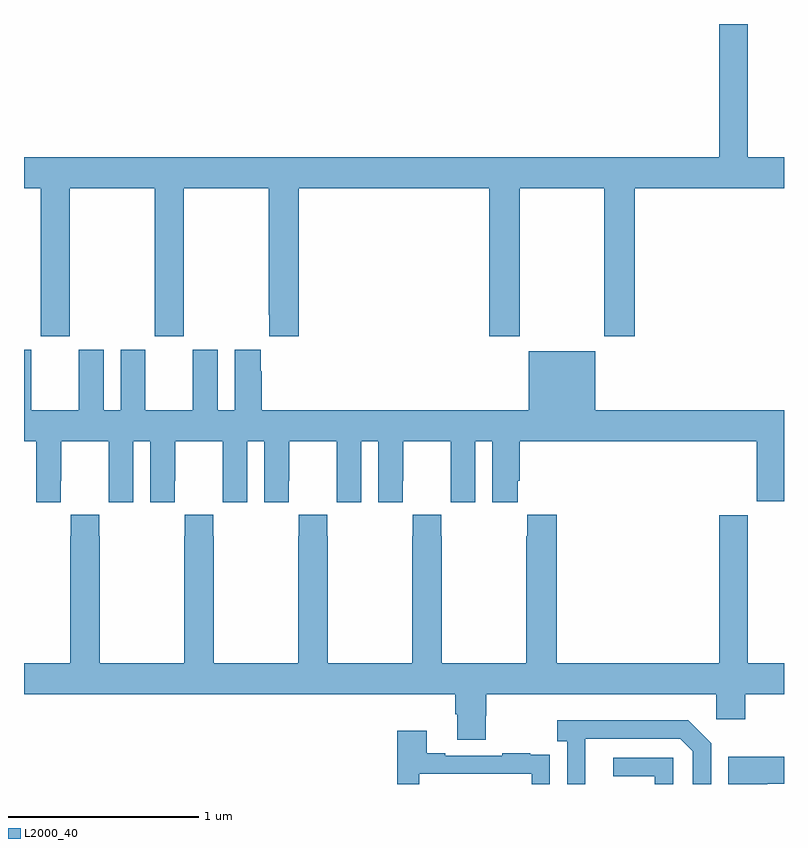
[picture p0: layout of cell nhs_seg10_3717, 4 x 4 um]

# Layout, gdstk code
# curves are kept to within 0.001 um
import gdstk
lib = gdstk.Library(unit=1e-6, precision=1e-09)
def P(c, l, *ps):  # polygons
    for p in ps: c.add(gdstk.Polygon(p, *l))
L2000_40 = (2000, 40)

nhs_seg10_3717 = lib.new_cell('nhs_seg10_3717')
P(nhs_seg10_3717, L2000_40, [(313.242,1313.636),(313.687,1313.636),(313.687,1312.857),(313.842,1312.857),(313.842,1313.636),(314.287,1313.636),(314.287,1312.969),(314.291,1312.969),(314.291,1312.857),(314.447,1312.857),(314.447,1313.636),(315.449,1313.636),(315.449,1312.857),(315.609,1312.857),(315.609,1313.636),(316.054,1313.636),(316.054,1312.857),(316.214,1312.857),(316.214,1313.636),(317,1313.636),(317,1313.8),(316.81,1313.8),(316.81,1314.5),(316.658,1314.5),(316.658,1313.8),(313,1313.8),(313,1313.636),(313.087,1313.636),(313.087,1312.857),(313.242,1312.857)],
  [(313.039,1312.786),(313,1312.786),(313,1312.304),(313.064,1312.304),(313.064,1311.984),(313.194,1311.984),(313.194,1312.096),(313.195,1312.096),(313.195,1312.304),(313.445,1312.304),(313.445,1312.096),(313.446,1312.096),(313.446,1311.984),(313.576,1311.984),(313.576,1312.304),(313.664,1312.304),(313.664,1311.984),(313.794,1311.984),(313.794,1312.096),(313.795,1312.096),(313.795,1312.304),(314.045,1312.304),(314.045,1312.096),(314.046,1312.096),(314.046,1311.984),(314.176,1311.984),(314.176,1312.304),(314.264,1312.304),(314.264,1311.984),(314.394,1311.984),(314.394,1312.096),(314.395,1312.096),(314.395,1312.304),(314.645,1312.304),(314.645,1312.096),(314.646,1312.096),(314.646,1311.984),(314.776,1311.984),(314.776,1312.304),(314.864,1312.304),(314.864,1311.984),(314.994,1311.984),(314.994,1312.096),(314.995,1312.096),(314.995,1312.304),(315.245,1312.304),(315.245,1312.096),(315.246,1312.096),(315.246,1311.984),(315.376,1311.984),(315.376,1312.304),(315.464,1312.304),(315.464,1311.984),(315.598,1311.984),(315.598,1312.096),(315.608,1312.096),(315.608,1312.304),(316.856,1312.304),(316.856,1311.987),(317,1311.987),(317,1312.468),(316.006,1312.468),(316.006,1312.777),(315.656,1312.777),(315.656,1312.468),(314.252,1312.468),(314.252,1312.673),(314.245,1312.673),(314.245,1312.786),(314.108,1312.786),(314.108,1312.468),(314.02,1312.468),(314.02,1312.786),(313.889,1312.786),(313.889,1312.468),(313.639,1312.468),(313.639,1312.786),(313.508,1312.786),(313.508,1312.468),(313.42,1312.468),(313.42,1312.786),(313.289,1312.786),(313.289,1312.468),(313.039,1312.468)],
  [(315.429,1310.859),(315.434,1310.859),(315.434,1310.972),(316.644,1310.972),(316.644,1310.841),(316.796,1310.841),(316.796,1310.972),(317,1310.972),(317,1311.136),(316.81,1311.136),(316.81,1311.915),(316.658,1311.915),(316.658,1311.136),(315.803,1311.136),(315.803,1311.916),(315.649,1311.916),(315.649,1311.803),(315.643,1311.803),(315.643,1311.136),(315.198,1311.136),(315.198,1311.803),(315.195,1311.803),(315.195,1311.916),(315.045,1311.916),(315.045,1311.803),(315.043,1311.803),(315.043,1311.136),(314.598,1311.136),(314.598,1311.803),(314.595,1311.803),(314.595,1311.916),(314.445,1311.916),(314.445,1311.803),(314.443,1311.803),(314.443,1311.136),(313.998,1311.136),(313.998,1311.803),(313.995,1311.803),(313.995,1311.916),(313.845,1311.916),(313.845,1311.803),(313.843,1311.803),(313.843,1311.136),(313.398,1311.136),(313.398,1311.803),(313.395,1311.803),(313.395,1311.916),(313.245,1311.916),(313.245,1311.803),(313.243,1311.803),(313.243,1311.136),(313,1311.136),(313,1310.972),(315.269,1310.972),(315.269,1310.866),(315.281,1310.866),(315.281,1310.734),(315.429,1310.734)],
  [(315.954,1310.539),(315.955,1310.739),(316.455,1310.739),(316.521,1310.673),(316.521,1310.5),(316.617,1310.5),(316.617,1310.715),(316.496,1310.836),(315.807,1310.836),(315.807,1310.726),(315.858,1310.726),(315.858,1310.5),(315.954,1310.5)],
  [(315.081,1310.553),(315.672,1310.553),(315.672,1310.5),(315.768,1310.5),(315.768,1310.546),(315.767,1310.546),(315.767,1310.655),(315.665,1310.655),(315.665,1310.662),(315.517,1310.662),(315.517,1310.649),(315.217,1310.649),(315.217,1310.662),(315.121,1310.662),(315.121,1310.779),(314.965,1310.779),(314.965,1310.5),(315.081,1310.5)],
  [(316.913,1310.501),(317,1310.501),(317,1310.643),(316.706,1310.643),(316.706,1310.5),(316.913,1310.5)],
  [(316.416,1310.637),(316.101,1310.637),(316.101,1310.541),(316.32,1310.541),(316.32,1310.5),(316.416,1310.5)])

lib.write_gds('nhs_seg10_3717.gds')
